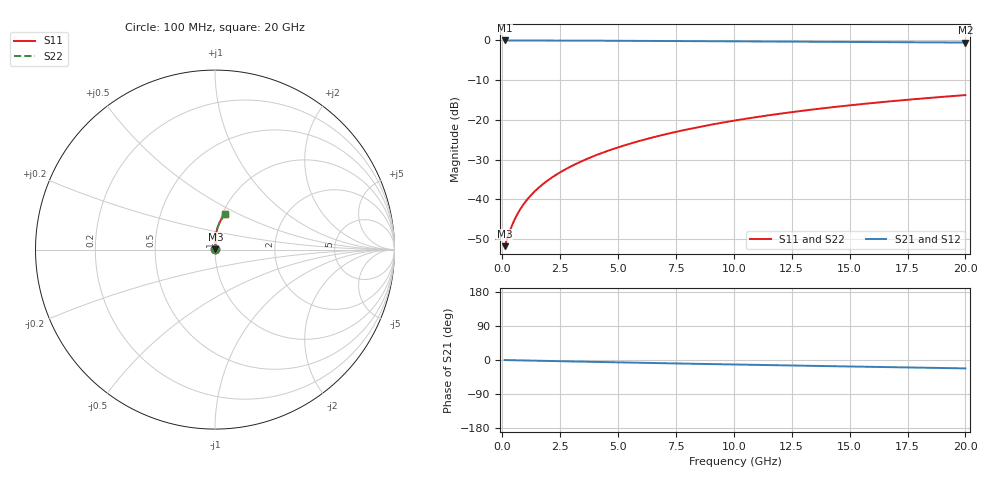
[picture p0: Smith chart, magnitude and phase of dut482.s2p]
! Touchstone file exported from HFSS 2024.1.0
!  File:  C:/UserFiles/LocalFiles/RDL_TSV_Batchsim/temp_RDL_top_482_1779678386.aedt
!  Generated:  11:08:28 AM May 25, 2026
!  Design:  RDL_top
!  Project:  temp_RDL_top_482_1779678386
!  Setup:  Setup1
!  Solution:  Sweep
! Variables:
!  dtsv = 10.80580581um
!  hbump = 3um
!  htsv = 72.06um
!  ldown = 100um
!  lrdl = 314.29um
!  p = 40
!  p1 = 41.17um
!  rhole = 1um
!  t = 450um
!  tdown = 3.915915916um
!  trdl = 2.39um
!  wdown = 15.38538539um
!  wrdl = 22.99um
# GHz S MA R 50.000000
! Terminal data exported
! Port[1] = Box2_T1
! Port[2] = Box2_T2
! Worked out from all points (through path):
!   200 points, 100 MHz to 20 GHz, reference 50 ohm
!   highest |S21| = -0.02 dB at 100 MHz (marker M1); lowest = -0.5 dB at 20 GHz (marker M2)
!   group delay of S21, straight-line fit = 3.05 ps
!   lowest |S11| = -51.8 dB at 100 MHz (marker M3), VSWR 1.01, Z = 50.2 + j0.1 ohm
!   |S11| at or under -10 dB: start of sweep to end of sweep
!   |S22| runs from -51.8 to -13.8 dB; largest |S21 - S12| = 2.6e-15
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0.1  0.002567 22.9  0.9976 -0.1  0.9976 -0.1  0.002567 22.9
! Gamma 0 0 0 0
! Port Impedance 50 0 50 0
0.3  0.003802 48.5  0.9974 -0.4  0.9974 -0.4  0.003798 48.5
0.4  0.004537 55.2  0.9973 -0.5  0.9973 -0.5  0.004533 55.3
0.6  0.006086 63.8  0.997 -0.8  0.997 -0.8  0.006085 63.8
0.7  0.00688 66.6  0.9969 -0.9  0.9969 -0.9  0.006881 66.7
0.9  0.008488 70.8  0.9967 -1.2  0.9967 -1.2  0.00849 70.8
1.2  0.01092 74.9  0.9964 -1.6  0.9964 -1.6  0.01093 74.9
1.4  0.01256 76.9  0.9961 -1.8  0.9961 -1.8  0.01256 76.9
1.7  0.01505 79.2  0.9957 -2.2  0.9957 -2.2  0.01505 79.2
2.2  0.01927 81.9  0.995 -2.8  0.995 -2.8  0.01927 81.9
2.8  0.02447 84.1  0.9939 -3.6  0.9939 -3.6  0.02447 84.1
3.5  0.03076 85.7  0.9924 -4.4  0.9924 -4.4  0.03076 85.7
4.2  0.03727 86.8  0.9907 -5.3  0.9907 -5.3  0.03727 86.8
5  0.04497 87.5  0.9885 -6.2  0.9885 -6.2  0.04497 87.5
5.9  0.05394 87.8  0.9858 -7.3  0.9858 -7.3  0.05394 87.8
6.8  0.06319 87.7  0.983 -8.3  0.983 -8.3  0.06319 87.8
8.4  0.08015 87.0  0.9777 -10.1  0.9777 -10.1  0.08015 87.0
10.1  0.09862 85.6  0.972 -12.0  0.972 -12.0  0.09863 85.6
11.7  0.1162 84.1  0.9666 -13.7  0.9666 -13.7  0.1162 84.1
13.4  0.1348 82.2  0.9609 -15.5  0.9609 -15.5  0.1348 82.2
16.7  0.1704 78.4  0.95 -18.8  0.95 -18.8  0.1704 78.4
20  0.2047 74.6  0.9391 -22.1  0.9391 -22.1  0.2047 74.6
